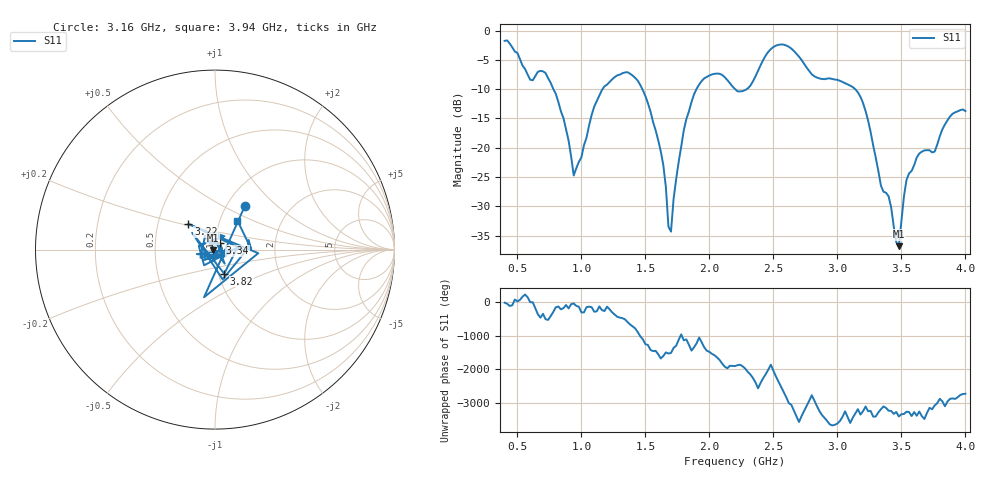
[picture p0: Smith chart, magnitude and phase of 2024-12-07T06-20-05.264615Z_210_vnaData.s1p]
!Created with skrf (http://scikit-rf.org).
# Hz S RI R 50.0
!freq ReS11 ImS11
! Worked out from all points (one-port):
!   181 points, 400 MHz to 4 GHz, reference 50 ohm
!   lowest |S11| = -36.8 dB at 3.48 GHz (marker M1), VSWR 1.03, Z = 48.7 - j0.468 ohm
!   |S11| at or under -10 dB: 781.2 MHz to 1.165 GHz (383.5 MHz wide, 39.4 % of centre); 1.476 GHz to 1.899 GHz (422.2 MHz wide, 25 % of centre); 3.14 GHz to end of sweep (the widest 3 of 4)
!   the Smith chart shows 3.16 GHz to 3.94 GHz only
!   S11 on the Smith chart (normalised r, x): 3.16 GHz: 1.21, +0.65; 3.22 GHz: 0.72, +0.21; 3.34 GHz: 1.06, +0.08; 3.82 GHz: 1.07, -0.29; 3.94 GHz: 1.21, +0.41
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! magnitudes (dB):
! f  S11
! 400 MHz  -1.7
! 600 MHz  -8.4
! 720 MHz  -7.2
! 860 MHz  -14.9
! 940 MHz  -24.7
! 1.14 GHz  -11.1
! 1.3 GHz  -7.5
! 1.52 GHz  -12.4
! 1.64 GHz  -23.0
! 1.68 GHz  -33.5
! 1.7 GHz  -34.3
! 1.76 GHz  -22.4
! 1.82 GHz  -15.1
! 1.94 GHz  -8.6
! 2.2 GHz  -10.0
! 2.32 GHz  -9.4
! 2.5 GHz  -2.8
! 2.66 GHz  -3.5
! 3.1 GHz  -9.4
! 3.16 GHz  -10.5
! 3.22 GHz  -13.7
! 3.34 GHz  -26.5
! 3.4 GHz  -28.3
! 3.48 GHz  -36.8
! 3.56 GHz  -24.4
! 3.82 GHz  -16.9
! 3.94 GHz  -13.8
! 4 GHz  -13.7
